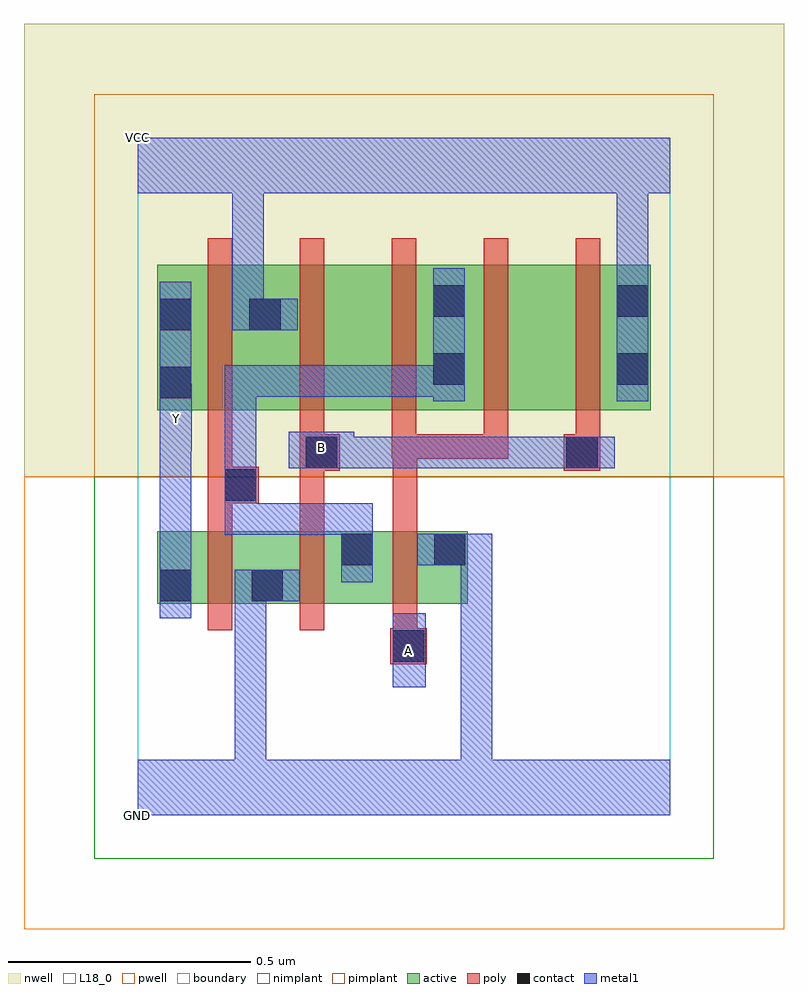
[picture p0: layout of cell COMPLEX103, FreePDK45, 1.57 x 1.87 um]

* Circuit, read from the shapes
.subckt COMPLEX103 A B GND VCC Y
M1 GND n1 Y VSUBS nfet w=0.15u l=0.05u
M2 n1 B GND VSUBS nfet w=0.15u l=0.05u
M3 GND A n1 VSUBS nfet w=0.15u l=0.05u
M4 VCC n1 Y n2 pfet w=0.3u l=0.05u
M5 n3 B VCC n2 pfet w=0.3u l=0.05u
M6 n1 A n3 n2 pfet w=0.3u l=0.05u
M7 n4 A n1 n2 pfet w=0.3u l=0.05u
M8 VCC B n4 n2 pfet w=0.3u l=0.05u
.ends

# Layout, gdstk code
import gdstk
lib = gdstk.Library(unit=1e-6, precision=1e-09)
def R(c, l, rs):  # rectangles x0, y0, x1, y1
    for r in rs: c.add(gdstk.rectangle(r[:2], r[2:], *l))
def A(c, l, x, y, w, h, nx, ny, dx, dy):  # array of equal rectangles
    R(c, l, [(x+i*dx, y+j*dy, x+i*dx+w, y+j*dy+h) for i in range(nx) for j in range(ny)])
active = (1, 0)
pwell = (2, 0)
nwell = (3, 0)
nimplant = (4, 0)
pimplant = (5, 0)
poly = (9, 0)
contact = (10, 0)
metal1 = (11, 0)
L18_0 = (18, 0)
boundary = (235, 0)

complex103 = lib.new_cell('COMPLEX103')
R(complex103, active, [(0.04,0.437,0.305,0.587), (0.04,0.437,0.115,0.587), (0.23,0.437,0.49,0.587), (0.23,0.437,0.305,0.512), (0.415,0.437,0.682,0.587), (0.415,0.495,0.49,0.587), (0.607,0.495,0.682,0.587), (0.04,0.837,0.115,1.137), (0.04,0.837,0.3,1.137), (0.225,0.837,0.3,1.137), (0.225,0.837,0.455,1.137), (0.455,0.837,0.68,1.137), (0.605,0.837,0.835,1.137), (0.605,0.837,0.68,1.1), (0.835,0.837,1.06,1.137), (0.985,0.837,1.06,1.137)])
R(complex103, pwell, [(-0.235,-0.235,1.335,0.7)])
R(complex103, nwell, [(-0.235,0.7,1.335,1.635)])
R(complex103, nimplant, [(-0.09,-0.09,1.19,0.7)])
R(complex103, pimplant, [(-0.09,0.7,1.19,1.49)])
A(complex103, poly, 0.335, 0.737, 0.05, 0.095, 4, 1, 0.19, 0)
A(complex103, poly, 0.145, 0.782, 0.05, 0.41, 5, 1, 0.19, 0)
R(complex103, poly, [(0.522,0.312,0.597,0.387), (0.527,0.337,0.577,0.432), (0.145,0.382,0.195,0.642), (0.335,0.382,0.385,0.642), (0.527,0.382,0.577,0.642), (0.145,0.592,0.195,0.695), (0.335,0.592,0.385,0.762), (0.527,0.592,0.577,0.787), (0.145,0.645,0.25,0.72), (0.145,0.67,0.195,0.832), (0.335,0.712,0.417,0.787), (0.88,0.712,0.955,0.787), (0.525,0.737,0.577,0.787), (0.527,0.737,0.765,0.787), (0.715,0.737,0.765,0.787), (0.715,0.737,0.765,0.787), (0.715,0.737,0.765,0.787)])
R(complex103, contact, [(0.527,0.317,0.592,0.382), (0.045,0.442,0.11,0.507), (0.235,0.442,0.3,0.507), (0.42,0.517,0.485,0.582), (0.612,0.517,0.677,0.582), (0.18,0.65,0.245,0.715), (0.347,0.717,0.412,0.782), (0.885,0.717,0.95,0.782), (0.045,0.862,0.11,0.927), (0.61,0.89,0.675,0.955), (0.99,0.89,1.055,0.955), (0.045,1.002,0.11,1.067), (0.23,1.002,0.295,1.067), (0.61,1.03,0.675,1.095), (0.99,1.03,1.055,1.095)])
R(complex103, metal1, [(0,0,1.1,0.115), (0.2,0.05,0.265,0.507), (0.667,0.05,0.732,0.115), (0.667,0.05,0.732,0.115), (0.667,0.05,0.732,0.115), (0.667,0.05,0.732,0.115), (0.667,0.05,0.732,0.115), (0.667,0.05,0.732,0.115), (0.667,0.05,0.732,0.582), (0.527,0.265,0.595,0.417), (0.045,0.407,0.11,0.542), (0.2,0.442,0.265,0.507), (0.2,0.442,0.265,0.507), (0.2,0.442,0.265,0.507), (0.2,0.442,0.265,0.507), (0.2,0.442,0.265,0.507), (0.2,0.442,0.265,0.507), (0.2,0.442,0.335,0.507), (0.045,0.477,0.11,0.817), (0.42,0.482,0.485,0.645), (0.577,0.517,0.732,0.582), (0.18,0.58,0.245,0.645), (0.18,0.58,0.455,0.645), (0.18,0.58,0.245,0.75), (0.39,0.58,0.455,0.645), (0.39,0.58,0.485,0.645), (0.18,0.615,0.245,0.75), (0.18,0.685,0.245,0.75), (0.18,0.685,0.245,0.75), (0.18,0.685,0.245,0.922), (0.312,0.717,0.447,0.792), (0.382,0.717,0.447,0.782), (0.382,0.717,0.447,0.782), (0.382,0.717,0.592,0.782), (0.527,0.717,0.592,0.782), (0.527,0.717,0.592,0.782), (0.527,0.717,0.592,0.782), (0.527,0.717,0.777,0.782), (0.712,0.717,0.777,0.782), (0.712,0.717,0.777,0.782), (0.712,0.717,0.777,0.782), (0.712,0.717,0.915,0.782), (0.85,0.717,0.985,0.782), (0.045,0.752,0.112,0.892), (0.045,0.827,0.11,0.892), (0.045,0.827,0.11,1.102), (0.61,0.855,0.675,1.13), (0.99,0.855,1.055,1.13), (0.18,0.857,0.245,0.93), (0.18,0.865,0.455,0.93), (0.39,0.865,0.455,0.93), (0.39,0.865,0.455,0.93), (0.39,0.865,0.455,0.93), (0.39,0.865,0.592,0.93), (0.527,0.865,0.592,0.93), (0.527,0.865,0.675,0.93), (0.195,1.002,0.33,1.067), (0.195,1.002,0.26,1.322), (0.99,1.065,1.055,1.13), (0.99,1.065,1.055,1.13), (0.99,1.065,1.055,1.35), (0.195,1.257,0.26,1.322), (0.195,1.257,0.26,1.35), (0,1.285,1.1,1.4)])
R(complex103, L18_0, [(0,0,1.1,0.115), (0.2,0.05,0.265,0.507), (0.667,0.05,0.732,0.115), (0.667,0.05,0.732,0.115), (0.667,0.05,0.732,0.115), (0.667,0.05,0.732,0.115), (0.667,0.05,0.732,0.115), (0.667,0.05,0.732,0.115), (0.667,0.05,0.732,0.582), (0.527,0.265,0.595,0.417), (0.527,0.307,0.592,0.372), (0.045,0.407,0.11,0.542), (0.2,0.442,0.265,0.507), (0.2,0.442,0.265,0.507), (0.2,0.442,0.265,0.507), (0.2,0.442,0.265,0.507), (0.2,0.442,0.265,0.507), (0.2,0.442,0.265,0.507), (0.2,0.442,0.335,0.507), (0.045,0.477,0.11,0.817), (0.577,0.517,0.732,0.582), (0.312,0.717,0.447,0.792), (0.382,0.717,0.447,0.782), (0.382,0.717,0.447,0.782), (0.382,0.717,0.592,0.782), (0.527,0.717,0.592,0.782), (0.527,0.717,0.592,0.782), (0.527,0.717,0.592,0.782), (0.527,0.717,0.777,0.782), (0.712,0.717,0.777,0.782), (0.712,0.717,0.777,0.782), (0.712,0.717,0.777,0.782), (0.712,0.717,0.915,0.782), (0.85,0.717,0.985,0.782), (0.347,0.727,0.412,0.792), (0.045,0.752,0.112,0.892), (0.047,0.787,0.112,0.852), (0.045,0.827,0.11,1.102), (0.045,0.827,0.11,0.892), (0.99,0.855,1.055,1.13), (0.195,1.002,0.33,1.067), (0.195,1.002,0.26,1.322), (0.99,1.065,1.055,1.13), (0.99,1.065,1.055,1.13), (0.99,1.065,1.055,1.35), (0.195,1.257,0.26,1.322), (0.195,1.257,0.26,1.35), (0,1.285,1.1,1.4)])
R(complex103, boundary, [(0,0,1.1,1.4)])
complex103.add(gdstk.Label('A', (0.56,0.34), layer=11, texttype=0))
complex103.add(gdstk.Label('B', (0.38,0.76), layer=11, texttype=0))
complex103.add(gdstk.Label('Y', (0.08,0.82), layer=11, texttype=0))
complex103.add(gdstk.Label('VCC', (0,1.4), layer=11, texttype=0))
complex103.add(gdstk.Label('GND', (0,0), layer=11, texttype=0))

lib.write_gds('COMPLEX103.gds')
